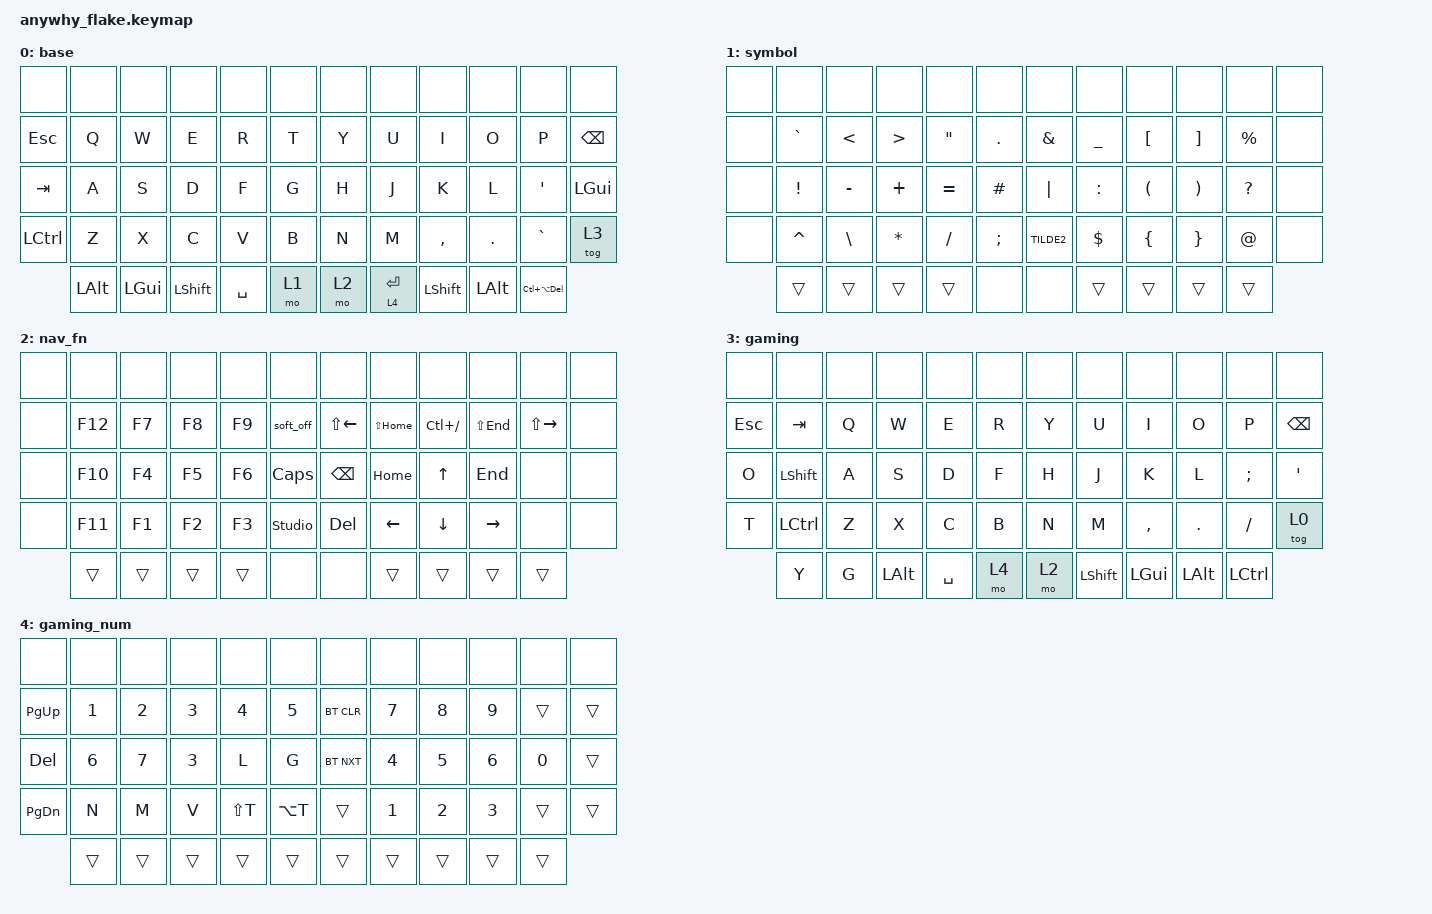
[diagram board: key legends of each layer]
#include <behaviors.dtsi>
#include <dt-bindings/zmk/bt.h>
#include <dt-bindings/zmk/keys.h>

/ {
    combos {
        compatible = "zmk,combos";

        bt_sel_3 {
            bindings = <&bt3>;
            key-positions = <42 30>;
            layers = <2>;
        };

        bt_sel_4 {
            bindings = <&bt4>;
            key-positions = <30 18>;
            layers = <2>;
        };

        enter_gaming {
            bindings = <&sl 3>;
            key-positions = <26 15 28>;
            layers = <2>;
        };

        leave_gaming {
            bindings = <&sl 0>;
            key-positions = <31 20 33>;
            layers = <4>;
        };

        grave {
            bindings = <&kp GRAVE>;
            key-positions = <13 25>;
            layers = <3>;
        };
    };

    macros {
        bt_clr_0: bt_clr_0 {
            compatible = "zmk,behavior-macro";
            #binding-cells = <0>;
            bindings = <&bt BT_SEL 0 &bt BT_CLR>;
            label = "BT_CLR_0";
        };

        bt_clr_1: bt_clr_1 {
            compatible = "zmk,behavior-macro";
            #binding-cells = <0>;
            bindings = <&bt BT_SEL 1 &bt BT_CLR>;
            label = "BT_CLR_1";
        };

        bt_clr_2: bt_clr_2 {
            compatible = "zmk,behavior-macro";
            #binding-cells = <0>;
            bindings = <&bt BT_SEL 2 &bt BT_CLR>;
            label = "BT_CLR_2";
        };

        bt_clr_3: bt_clr_3 {
            compatible = "zmk,behavior-macro";
            #binding-cells = <0>;
            bindings = <&bt BT_SEL 3 &bt BT_CLR>;
            label = "BT_CLR_3";
        };

        bt_clr_4: bt_clr_4 {
            compatible = "zmk,behavior-macro";
            #binding-cells = <0>;
            bindings = <&bt BT_SEL 4 &bt BT_CLR>;
            label = "BT_CLR_4";
        };
    };

    behaviors {
        bt0: bt0 {
            compatible = "zmk,behavior-mod-morph";
            label = "BT0";
            bindings = <&bt BT_SEL 0>, <&bt_clr_0>;

            #binding-cells = <0>;
            mods = <(MOD_LSFT|MOD_RSFT)>;
        };

        bt1: bt1 {
            compatible = "zmk,behavior-mod-morph";
            label = "BT1";
            bindings = <&bt BT_SEL 1>, <&bt_clr_1>;

            #binding-cells = <0>;
            mods = <(MOD_LSFT|MOD_RSFT)>;
        };

        bt2: bt2 {
            compatible = "zmk,behavior-mod-morph";
            label = "BT2";
            bindings = <&bt BT_SEL 2>, <&bt_clr_2>;

            #binding-cells = <0>;
            mods = <(MOD_LSFT|MOD_RSFT)>;
        };

        bt3: bt3 {
            compatible = "zmk,behavior-mod-morph";
            label = "BT3";
            bindings = <&bt BT_SEL 3>, <&bt_clr_3>;

            #binding-cells = <0>;
            mods = <(MOD_LSFT|MOD_RSFT)>;
        };

        bt4: bt4 {
            compatible = "zmk,behavior-mod-morph";
            label = "BT4";
            bindings = <&bt BT_SEL 4>, <&bt_clr_4>;

            #binding-cells = <0>;
            mods = <(MOD_LSFT|MOD_RSFT)>;
        };
    };

    keymap {
        compatible = "zmk,keymap";

        base {
            bindings = <
&none      &none     &none     &none      &none      &none     &none    &none      &none       &none     &none                &none
&kp ESC    &kp Q     &kp W     &kp E      &kp R      &kp T     &kp Y    &kp U      &kp I       &kp O     &kp P                &kp BSPC
&kp TAB    &kp A     &kp S     &kp D      &kp F      &kp G     &kp H    &kp J      &kp K       &kp L     &kp APOS             &kp LGUI
&kp LCTRL  &kp Z     &kp X     &kp C      &kp V      &kp B     &kp N    &kp M      &kp COMMA   &kp DOT   &kp GRAVE            &tog 3
           &kp LALT  &kp LGUI  &kp LSHFT  &kp SPACE  &mo 1     &mo 2    &lt 4 RET  &kp LSHFT   &kp LALT  &kp LC(LA(DEL))
            >;
        };

        symbol {
            bindings = <
&none  &none       &none        &none      &none      &none       &none        &none         &none      &none      &none       &none
&none  &kp GRAVE   &kp LT       &kp GT     &kp DQT    &kp DOT     &kp AMPS     &kp UNDER     &kp LBKT   &kp RBKT   &kp PRCNT   &none
&none  &kp EXCL    &kp MINUS    &kp PLUS   &kp EQUAL  &kp HASH    &kp PIPE     &kp COLON     &kp LPAR   &kp RPAR   &kp QMARK   &none
&none  &kp CARET   &kp BSLH     &kp STAR   &kp FSLH   &kp SEMI    &kp TILDE2   &kp DOLLAR    &kp LBRC   &kp RBRC   &kp AT      &none
       &trans      &trans       &trans     &trans     &none       &none        &trans        &trans     &trans     &trans
            >;
        };

        nav_fn {
            bindings = <
&none  &none    &none   &none   &none   &none             &none          &none         &none         &none         &none          &none
&none  &kp F12  &kp F7  &kp F8  &kp F9  &soft_off         &kp LS(LEFT)   &kp LS(HOME)  &kp LC(FSLH)  &kp LS(END)   &kp LS(RIGHT)  &none
&none  &kp F10  &kp F4  &kp F5  &kp F6  &kp CAPS          &kp BSPC       &kp HOME      &kp UP        &kp END       &none          &none
&none  &kp F11  &kp F1  &kp F2  &kp F3  &studio_unlock    &kp DEL        &kp LEFT      &kp DOWN      &kp RIGHT     &none          &none
       &trans   &trans  &trans  &trans  &none             &none          &trans        &trans        &trans        &trans
            >;
        };

        gaming {
            bindings = <
&none     &none      &none   &none      &none      &none     &none   &none      &none      &none     &none      &none
&kp ESC   &kp TAB    &kp Q   &kp W      &kp E      &kp R     &kp Y   &kp U      &kp I      &kp O     &kp P      &kp BSPC
&kp O     &kp LSHFT  &kp A   &kp S      &kp D      &kp F     &kp H   &kp J      &kp K      &kp L     &kp SEMI   &kp APOS
&kp T     &kp LCTRL  &kp Z   &kp X      &kp C      &kp B     &kp N   &kp M      &kp COMMA  &kp DOT   &kp FSLH   &tog 0
          &kp Y      &kp G   &kp LALT   &kp SPACE  &mo 4     &mo 2   &kp LSHFT  &kp LGUI   &kp LALT  &kp LCTRL
            >;
        };

        gaming_num {
            bindings = <
&none      &none    &none     &none     &none      &none      &none       &none   &none   &none   &none   &none
&kp PG_UP  &kp N1   &kp N2    &kp N3    &kp N4     &kp N5     &bt BT_CLR  &kp N7  &kp N8  &kp N9  &trans  &trans
&kp DEL    &kp N6   &kp N7    &kp N3    &kp L      &kp G      &bt BT_NXT  &kp N4  &kp N5  &kp N6  &kp N0  &trans
&kp PG_DN  &kp N    &kp M     &kp V     &kp LS(T)  &kp LA(T)  &trans      &kp N1  &kp N2  &kp N3  &trans  &trans
           &trans   &trans    &trans    &trans     &trans     &trans      &trans  &trans  &trans  &trans
            >;
        };
    };
};
